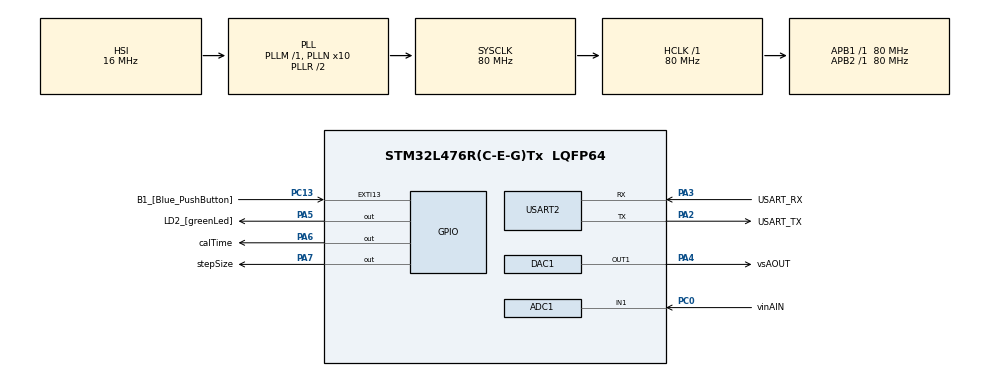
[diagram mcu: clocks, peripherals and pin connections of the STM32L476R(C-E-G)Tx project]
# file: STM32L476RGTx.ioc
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ADC1.Channel-0\#ChannelRegularConversion=ADC_CHANNEL_1
ADC1.NbrOfConversionFlag=1
ADC1.OffsetNumber-0\#ChannelRegularConversion=ADC_OFFSET_NONE
ADC1.Rank-0\#ChannelRegularConversion=1
ADC1.SamplingTime-0\#ChannelRegularConversion=ADC_SAMPLETIME_2CYCLES_5
ADC1.master=1
Mcu.Family=STM32L4
Mcu.Name=STM32L476R(C-E-G)Tx
Mcu.Package=LQFP64
NVIC.EXTI15_10_IRQn=true\:0\:0\:false\:false\:true\:true\:true\:true
NVIC.PriorityGroup=NVIC_PRIORITYGROUP_4
NVIC.TIM1_UP_TIM16_IRQn=true\:0\:0\:false\:false\:true\:true\:true\:true
PA13\ (JTMS-SWDIO).GPIO_Label=TMS
PA13\ (JTMS-SWDIO).Mode=Serial_Wire
PA13\ (JTMS-SWDIO).Signal=SYS_JTMS-SWDIO
PA14\ (JTCK-SWCLK).GPIO_Label=TCK
PA14\ (JTCK-SWCLK).Mode=Serial_Wire
PA14\ (JTCK-SWCLK).Signal=SYS_JTCK-SWCLK
PA2.GPIO_Label=USART_TX
PA2.GPIO_Mode=GPIO_MODE_AF_PP
PA2.GPIO_PuPd=GPIO_NOPULL
PA2.GPIO_Speed=GPIO_SPEED_FREQ_VERY_HIGH
PA2.Mode=Asynchronous
PA2.Signal=USART2_TX
PA3.GPIO_Label=USART_RX
PA3.GPIO_Mode=GPIO_MODE_AF_PP
PA3.GPIO_PuPd=GPIO_NOPULL
PA3.GPIO_Speed=GPIO_SPEED_FREQ_VERY_HIGH
PA3.Mode=Asynchronous
PA3.Signal=USART2_RX
PA4.GPIO_Label=vsAOUT
PA4.Signal=COMP_DAC11_group
PA5.GPIO_Label=LD2_[greenLed]
PA5.GPIO_ModeDefaultOutputPP=GPIO_MODE_OUTPUT_PP
PA5.GPIO_PuPd=GPIO_NOPULL
PA5.GPIO_Speed=GPIO_SPEED_FREQ_LOW
PA5.Signal=GPIO_Output
PA6.GPIO_Label=calTime
PA6.Signal=GPIO_Output
PA7.GPIO_Label=stepSize
PA7.Signal=GPIO_Output
PB3\ (JTDO-TRACESWO).GPIO_Label=SWO
PB3\ (JTDO-TRACESWO).Signal=SYS_JTDO-SWO
PC0.GPIO_Label=vinAIN
PC0.Signal=ADCx_IN1
PC13.GPIO_Label=B1_[Blue_PushButton]
PC13.GPIO_ModeDefaultEXTI=GPIO_MODE_IT_FALLING
PC13.GPIO_PuPd=GPIO_NOPULL
PC13.Signal=GPXTI13
PC14-OSC32_IN\ (PC14).Mode=LSE-External-Oscillator
PC14-OSC32_IN\ (PC14).Signal=RCC_OSC32_IN
PC15-OSC32_OUT\ (PC15).Mode=LSE-External-Oscillator
PC15-OSC32_OUT\ (PC15).Signal=RCC_OSC32_OUT
PH0-OSC_IN\ (PH0).Signal=RCC_OSC_IN
PH1-OSC_OUT\ (PH1).Signal=RCC_OSC_OUT
ProjectManager.HeapSize=0x200
ProjectManager.StackSize=0x400
ProjectManager.TargetToolchain=STM32CubeIDE
RCC.ADCFreq_Value=64000000
RCC.AHBFreq_Value=80000000
RCC.APB1Freq_Value=80000000
RCC.APB1TimFreq_Value=80000000
RCC.APB2Freq_Value=80000000
RCC.APB2TimFreq_Value=80000000
RCC.CortexFreq_Value=80000000
RCC.HCLKFreq_Value=80000000
RCC.HSE_VALUE=8000000
RCC.HSI_VALUE=16000000
RCC.MSI_VALUE=4000000
RCC.PLLN=10
RCC.PLLSourceVirtual=RCC_PLLSOURCE_HSI
RCC.PREFETCH_ENABLE=1
RCC.SYSCLKFreq_VALUE=80000000
RCC.SYSCLKSource=RCC_SYSCLKSOURCE_PLLCLK
RCC.USBFreq_Value=64000000
RCC.VCOOutputFreq_Value=160000000
SH.ADCx_IN1.0=ADC1_IN1,IN1-Single-Ended
SH.COMP_DAC11_group.0=DAC1_OUT1,DAC_OUT1
TIM1.CounterMode=TIM_COUNTERMODE_DOWN
TIM1.Period=999
TIM1.Prescaler=79
USART2.VirtualMode-Asynchronous=VM_ASYNC
VP_TIM1_VS_ClockSourceINT.Mode=Internal
board=NUCLEO-L476RG

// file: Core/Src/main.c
/* USER CODE BEGIN Header */
/**
  ******************************************************************************
  * @file           : main.c
  * @brief          : Main program body
  ******************************************************************************
  * @attention
  *
  * Copyright (c) 2026 STMicroelectronics.
  * All rights reserved.
  *
  * This software is licensed under terms that can be found in the LICENSE file
  * in the root directory of this software component.
  * If no LICENSE file comes with this software, it is provided AS-IS.
  *
  ******************************************************************************
  */
/* USER CODE END Header */
#include "main.h"
#include "adc.h"
#include "dac.h"
#include "tim.h"
#include "usart.h"
#include "gpio.h"

/* USER CODE BEGIN Includes */
#include "block.h"
/* USER CODE END Includes */

/* USER CODE BEGIN PTD */
#define CONCAT_INNER(a, b) a##b
#define CONCAT(a, b) CONCAT_INNER(a, b)

/* Define shortcut names for unique, hash-based eFMU API: */
#define MODEL_HASH \
	H225c1baf6cf5a31bc9b0c38998c32298f6f0531c_cb4a8a449b4ada864625ee5a4355578a3aaf08ed

typedef CONCAT(BlockState_, MODEL_HASH) \
	ModelPSS;
typedef CONCAT(SPE_Real_, MODEL_HASH) \
	PSS_Real;
typedef CONCAT(SPE_ErrorSignal_, MODEL_HASH) \
	PSS_ErrorSignal;

#define PSS_NONE_ERRORSIGNAL \
	CONCAT(SPE_ERRORSIGNAL_NONE_, MODEL_HASH)

#define PSS_Startup \
	CONCAT(Startup_, MODEL_HASH)
#define PSS_DoStep \
	CONCAT(DoStep_, MODEL_HASH)
#define PSS_Recalibrate \
	CONCAT(Recalibrate_, MODEL_HASH)
#define PSS_Reinitialize \
	CONCAT(Reinitialize_, MODEL_HASH)

/* USER CODE END PTD */

/* USER CODE BEGIN PV */
static ModelPSS pss;

/* Button toggle state and debounce tracking: */
volatile bool override_active = false;
volatile uint32_t last_override_button_press = ((uint32_t) 0);

/* Profiling and errors: */
volatile uint32_t pss_cycles = ((uint32_t) 0);
volatile bool error_flag = false;
volatile uint32_t last_error_tick = ((uint32_t) 0);
/* USER CODE END PV */

void SystemClock_Config(void);

int main(void)
{

  /* MCU Configuration--------------------------------------------------------*/

  /* Reset of all peripherals, Initializes the Flash interface and the Systick. */
  HAL_Init();

  /* Configure the system clock */
  SystemClock_Config();

  /* Initialize all configured peripherals */
  MX_GPIO_Init();
  MX_USART2_UART_Init();
  MX_ADC1_Init();
  MX_DAC1_Init();
  MX_TIM1_Init();

  /* USER CODE BEGIN 2 */
  /* Enable the DWT (data watchpoint and trigger) cycle counter: */
  CoreDebug->DEMCR |= CoreDebug_DEMCR_TRCENA_Msk;
  DWT->CYCCNT = ((uint32_t) 0);
  DWT->CTRL |= DWT_CTRL_CYCCNTENA_Msk;

  /* Initialize the eFMU: */
  PSS_Startup(&pss);
  error_flag = (PSS_NONE_ERRORSIGNAL == pss.ErrorSignals);

  /* Start the sampling timer: */
  HAL_DAC_Start(&hdac1, DAC_CHANNEL_1);
  HAL_TIM_Base_Start_IT(&htim1);
  __enable_irq();
  /* USER CODE END 2 */

  /* Infinite loop */
  while (1)
  {

    /* USER CODE BEGIN 3 */
    /*
      If the LED is currently ON due to an error, check if 5000 ms have
      passed since the last error occurred. If so, turn off the LED and
      reset the flag:
    */
    if (error_flag
      && (((uint32_t) 5000) < (HAL_GetTick() - last_error_tick)))
    {
      HAL_GPIO_WritePin(LD2__GPIO_Port, LD2__Pin, GPIO_PIN_RESET);
      error_flag = false;
    }
  }
  /* USER CODE END 3 */
}

void SystemClock_Config(void)
{
  RCC_OscInitTypeDef RCC_OscInitStruct = {0};
  RCC_ClkInitTypeDef RCC_ClkInitStruct = {0};

  /** Configure the main internal regulator output voltage
  */
  if (HAL_PWREx_ControlVoltageScaling(PWR_REGULATOR_VOLTAGE_SCALE1) != HAL_OK)
  {
	Error_Handler();
  }

  /** Initializes the RCC Oscillators according to the specified parameters
  * in the RCC_OscInitTypeDef structure.
  */
  RCC_OscInitStruct.OscillatorType = RCC_OSCILLATORTYPE_HSI;
  RCC_OscInitStruct.HSIState = RCC_HSI_ON;
  RCC_OscInitStruct.HSICalibrationValue = RCC_HSICALIBRATION_DEFAULT;
  RCC_OscInitStruct.PLL.PLLState = RCC_PLL_ON;
  RCC_OscInitStruct.PLL.PLLSource = RCC_PLLSOURCE_HSI;
  RCC_OscInitStruct.PLL.PLLM = 1;
  RCC_OscInitStruct.PLL.PLLN = 10;
  RCC_OscInitStruct.PLL.PLLP = RCC_PLLP_DIV7;
  RCC_OscInitStruct.PLL.PLLQ = RCC_PLLQ_DIV2;
  RCC_OscInitStruct.PLL.PLLR = RCC_PLLR_DIV2;
  if (HAL_RCC_OscConfig(&RCC_OscInitStruct) != HAL_OK)
  {
	Error_Handler();
  }

  /** Initializes the CPU, AHB and APB buses clocks
  */
  RCC_ClkInitStruct.ClockType = RCC_CLOCKTYPE_HCLK|RCC_CLOCKTYPE_SYSCLK
							  |RCC_CLOCKTYPE_PCLK1|RCC_CLOCKTYPE_PCLK2;
  RCC_ClkInitStruct.SYSCLKSource = RCC_SYSCLKSOURCE_PLLCLK;
  RCC_ClkInitStruct.AHBCLKDivider = RCC_SYSCLK_DIV1;
  RCC_ClkInitStruct.APB1CLKDivider = RCC_HCLK_DIV1;
  RCC_ClkInitStruct.APB2CLKDivider = RCC_HCLK_DIV1;

  if (HAL_RCC_ClockConfig(&RCC_ClkInitStruct, FLASH_LATENCY_4) != HAL_OK)
  {
	Error_Handler();
  }
}

/* USER CODE BEGIN 4 */
void HAL_GPIO_EXTI_Callback(uint16_t GPIO_Pin)
{
  /* Check if interrupt triggered by blue button (PC13): */
  if (B1__Pin == GPIO_Pin)
  {
    uint32_t current_time = HAL_GetTick();
    if (((uint32_t) 250) < (current_time - last_override_button_press))
    { /* Debounce: Only accept press if 250 ms passed since last: */
      override_active = !override_active;
      last_override_button_press = current_time;
    }
  }
}

void HAL_TIM_PeriodElapsedCallback(TIM_HandleTypeDef *htim)
{
  if (TIM1 == htim->Instance)
  {
    /* Initialize profiling (check for errors and overruns): */
    uint32_t start_cycles = DWT->CYCCNT;
    PSS_ErrorSignal error_signals = PSS_NONE_ERRORSIGNAL;

    /* Pre-computed static constants: */
    static const uint32_t CYCLES_PER_MS =
      ((uint32_t) 80000); /* 80 MHz clock = 80,000 cycles/ms. */
    static const uint32_t POLL_TIMEOUT =
      ((uint32_t) 1); /* in ms */
    static const PSS_Real ADC_TO_VOLTS =
      ((PSS_Real) 3.3) / ((PSS_Real) 4095.0);
    static const PSS_Real VOLTS_TO_DAC =
      ((PSS_Real) 4095.0) / ((PSS_Real) 3.3);
    static const PSS_Real DAC_MAX =
      ((PSS_Real) 4095.0);
    static const PSS_Real DAC_MIN =
      ((PSS_Real) 0.0);
    static const PSS_Real OFFSET =
      ((PSS_Real) 1.5);
    static const PSS_Real CONSTANT_PU =
      ((PSS_Real) 0.0);

    HAL_GPIO_TogglePin(stepSize_GPIO_Port, stepSize_Pin);
    HAL_GPIO_WritePin(calTime_GPIO_Port, calTime_Pin, GPIO_PIN_SET);

    /* Input processing (convert AC to volt): */
    HAL_ADC_Start(&hadc1);
    if (HAL_OK == HAL_ADC_PollForConversion(&hadc1, POLL_TIMEOUT))
    {
      const uint32_t adc_raw = HAL_ADC_GetValue(&hadc1);
      pss.vSI = ((PSS_Real) adc_raw) * ADC_TO_VOLTS;
    }
    else
    { /* Failed to get input in time => trigger later overrun error: */
    	start_cycles = ((uint32_t) 0);
    }
    HAL_ADC_Stop(&hadc1);

    /* Compute sampling step: */
    PSS_DoStep(&pss);
    error_signals |= pss.ErrorSignals;

    /* Check if switch is pulling to GND: */
    const PSS_Real target_pu = !override_active
      ? pss.vs
      : CONSTANT_PU;

    /* Output processing, including clamping (convert volt to AC): */
    PSS_Real dac_val = (target_pu + OFFSET) * VOLTS_TO_DAC;
    if (DAC_MIN > dac_val)
    {
      dac_val = DAC_MIN;
    }
    else if (DAC_MAX < dac_val)
    {
      dac_val = DAC_MAX;
    }
    HAL_DAC_SetValue(
      &hdac1,
      DAC_CHANNEL_1,
      DAC_ALIGN_12B_R,
      ((uint32_t) dac_val));

    HAL_GPIO_WritePin(calTime_GPIO_Port, calTime_Pin, GPIO_PIN_RESET);

    /* End profiling (check for errors and overruns): */
    pss_cycles = (DWT->CYCCNT - start_cycles);
    if ((PSS_NONE_ERRORSIGNAL != error_signals)
      || (CYCLES_PER_MS < pss_cycles))
    {
      error_flag = true;
      last_error_tick = HAL_GetTick(); /* Reset 5 s cooldown. */
      HAL_GPIO_WritePin(LD2__GPIO_Port, LD2__Pin, GPIO_PIN_SET);
    }
  }
}
/* USER CODE END 4 */

void Error_Handler(void)
{
  __disable_irq();
  while (1)
  {
  }
}
